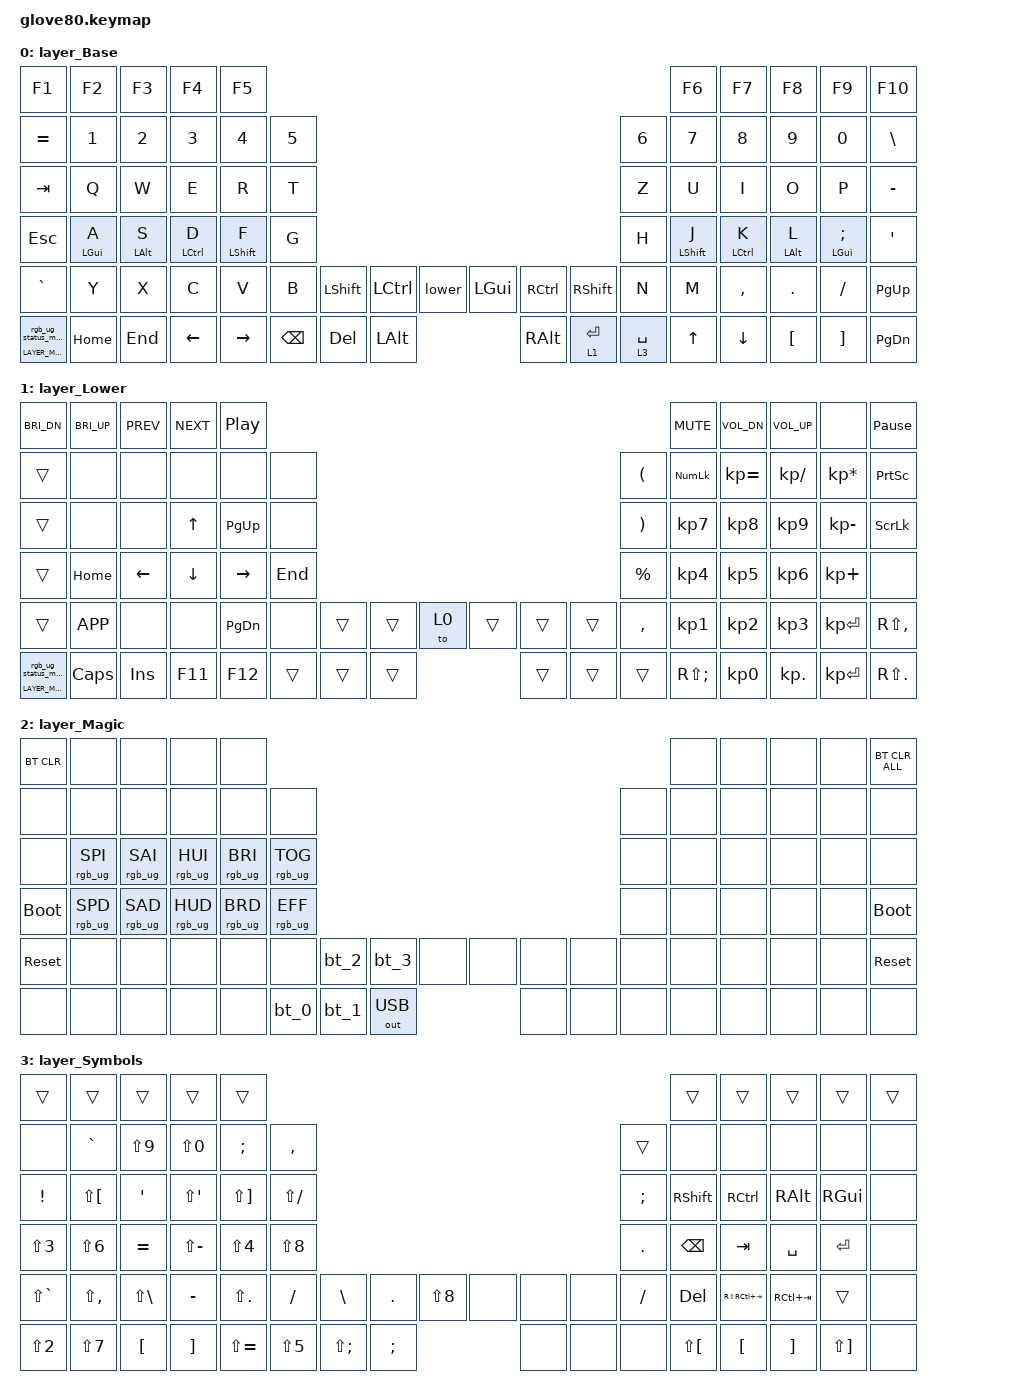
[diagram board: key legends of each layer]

/*
 * Copyright (c) 2020 The ZMK Contributors
 * Copyright (c) 2023 Innaworks Development Limited, trading as MoErgo
 *
 * SPDX-License-Identifier: MIT
 */


/* THIS FILE WAS GENERATED BY GLOVE80 LAYOUT EDITOR
 *
 * This file was generated automatically. You may or may not want to
 * edit it directly.
 */

#include <behaviors.dtsi>
/* Include all behavior includes needed */
#include <dt-bindings/zmk/outputs.h>
#include <dt-bindings/zmk/keys.h>
#include <dt-bindings/zmk/bt.h>
#include <dt-bindings/zmk/rgb.h>

/* On demand includes */


/* Automatically generated layer name #define */
#define LAYER_Base 0
#define LAYER_Lower 1
#define LAYER_Magic 2
#define LAYER_Symbols 3

/* To deal with the situation where there is no Lower layer, to keep &lower happy */
#ifndef LAYER_Lower
#define LAYER_Lower 0
#endif

/* Custom Device-tree */



/* Glove80 system behavior & macros */
/ {
    behaviors {
        // For the "layer" key, it'd nice to be able to use it as either a shift or a toggle.
        // Configure it as a tap dance, so the first tap (or hold) is a &mo and the second tap is a &to
        lower: lower {
            compatible = "zmk,behavior-tap-dance";
            label = "LAYER_TAP_DANCE";
            #binding-cells = <0>;
            tapping-term-ms = <200>;
            bindings = <&mo LAYER_Lower>, <&to LAYER_Lower>;
        };
    };
};

/ {
    macros {
        rgb_ug_status_macro: rgb_ug_status_macro {
            label = "RGB_UG_STATUS";
            compatible = "zmk,behavior-macro";
            #binding-cells = <0>;
            bindings
                = <&rgb_ug RGB_STATUS>;
        };
    };
};


/ {
#ifdef BT_DISC_CMD
    behaviors {
        bt_0: bt_0 {
            compatible = "zmk,behavior-tap-dance";
            label = "BT_0";
            #binding-cells = <0>;
            tapping-term-ms = <200>;
            bindings = <&bt_select_0>, <&bt BT_DISC 0>;
        };
        bt_1: bt_1 {
            compatible = "zmk,behavior-tap-dance";
            label = "BT_1";
            #binding-cells = <0>;
            tapping-term-ms = <200>;
            bindings = <&bt_select_1>, <&bt BT_DISC 1>;
        };
        bt_2: bt_2 {
            compatible = "zmk,behavior-tap-dance";
            label = "BT_2";
            #binding-cells = <0>;
            tapping-term-ms = <200>;
            bindings = <&bt_select_2>, <&bt BT_DISC 2>;
        };
        bt_3: bt_3 {
            compatible = "zmk,behavior-tap-dance";
            label = "BT_3";
            #binding-cells = <0>;
            tapping-term-ms = <200>;
            bindings = <&bt_select_3>, <&bt BT_DISC 3>;
        };
    };
    macros {
        bt_select_0: bt_select_0 {
            label = "BT_SELECT_0";
            compatible = "zmk,behavior-macro";
            #binding-cells = <0>;
            bindings
                = <&out OUT_BLE>,
                  <&bt BT_SEL 0>;
        };
        bt_select_1: bt_select_1 {
            label = "BT_SELECT_1";
            compatible = "zmk,behavior-macro";
            #binding-cells = <0>;
            bindings
                = <&out OUT_BLE>,
                  <&bt BT_SEL 1>;
        };
        bt_select_2: bt_select_2 {
            label = "BT_SELECT_2";
            compatible = "zmk,behavior-macro";
            #binding-cells = <0>;
            bindings
                = <&out OUT_BLE>,
                  <&bt BT_SEL 2>;
        };
        bt_select_3: bt_select_3 {
            label = "BT_SELECT_3";
            compatible = "zmk,behavior-macro";
            #binding-cells = <0>;
            bindings
                = <&out OUT_BLE>,
                  <&bt BT_SEL 3>;
        };
    };
#else
    macros {
        bt_0: bt_0 {
            label = "BT_0";
            compatible = "zmk,behavior-macro";
            #binding-cells = <0>;
            bindings
                = <&out OUT_BLE>,
                  <&bt BT_SEL 0>;
        };
        bt_1: bt_1 {
            label = "BT_1";
            compatible = "zmk,behavior-macro";
            #binding-cells = <0>;
            bindings
                = <&out OUT_BLE>,
                  <&bt BT_SEL 1>;
        };
        bt_2: bt_2 {
            label = "BT_2";
            compatible = "zmk,behavior-macro";
            #binding-cells = <0>;
            bindings
                = <&out OUT_BLE>,
                  <&bt BT_SEL 2>;
        };
        bt_3: bt_3 {
            label = "BT_3";
            compatible = "zmk,behavior-macro";
            #binding-cells = <0>;
            bindings
                = <&out OUT_BLE>,
                  <&bt BT_SEL 3>;
        };
    };
#endif
};

/ {
    behaviors {
        magic: magic {
            compatible = "zmk,behavior-hold-tap";
            label = "MAGIC_HOLD_TAP";
            #binding-cells = <2>;
            flavor = "tap-preferred";
            tapping-term-ms = <200>;
            bindings = <&mo>, <&rgb_ug_status_macro>;
        };
    };
};

/* #define for key positions */
#define POS_LH_T1 52
#define POS_LH_T2 53
#define POS_LH_T3 54
#define POS_LH_T4 69
#define POS_LH_T5 70
#define POS_LH_T6 71
#define POS_LH_C1R2 15
#define POS_LH_C1R3 27
#define POS_LH_C1R4 39
#define POS_LH_C1R5 51
#define POS_LH_C2R1 4
#define POS_LH_C2R2 14
#define POS_LH_C2R3 26
#define POS_LH_C2R4 38
#define POS_LH_C2R5 50
#define POS_LH_C2R6 68
#define POS_LH_C3R1 3
#define POS_LH_C3R2 13
#define POS_LH_C3R3 25
#define POS_LH_C3R4 37
#define POS_LH_C3R5 49
#define POS_LH_C3R6 67
#define POS_LH_C4R1 2
#define POS_LH_C4R2 12
#define POS_LH_C4R3 24
#define POS_LH_C4R4 36
#define POS_LH_C4R5 48
#define POS_LH_C4R6 66
#define POS_LH_C5R1 1
#define POS_LH_C5R2 11
#define POS_LH_C5R3 23
#define POS_LH_C5R4 35
#define POS_LH_C5R5 47
#define POS_LH_C5R6 65
#define POS_LH_C6R1 0
#define POS_LH_C6R2 10
#define POS_LH_C6R3 22
#define POS_LH_C6R4 34
#define POS_LH_C6R5 46
#define POS_LH_C6R6 64
#define POS_RH_T1 57
#define POS_RH_T2 56
#define POS_RH_T3 55
#define POS_RH_T4 74
#define POS_RH_T5 73
#define POS_RH_T6 72
#define POS_RH_C1R2 16
#define POS_RH_C1R3 28
#define POS_RH_C1R4 40
#define POS_RH_C1R5 58
#define POS_RH_C2R1 5
#define POS_RH_C2R2 17
#define POS_RH_C2R3 29
#define POS_RH_C2R4 41
#define POS_RH_C2R5 59
#define POS_RH_C2R6 75
#define POS_RH_C3R1 6
#define POS_RH_C3R2 18
#define POS_RH_C3R3 30
#define POS_RH_C3R4 42
#define POS_RH_C3R5 60
#define POS_RH_C3R6 76
#define POS_RH_C4R1 7
#define POS_RH_C4R2 19
#define POS_RH_C4R3 31
#define POS_RH_C4R4 43
#define POS_RH_C4R5 61
#define POS_RH_C4R6 77
#define POS_RH_C5R1 8
#define POS_RH_C5R2 20
#define POS_RH_C5R3 32
#define POS_RH_C5R4 44
#define POS_RH_C5R5 62
#define POS_RH_C5R6 78
#define POS_RH_C6R1 9
#define POS_RH_C6R2 21
#define POS_RH_C6R3 33
#define POS_RH_C6R4 45
#define POS_RH_C6R5 63
#define POS_RH_C6R6 79

/* Custom Defined Behaviors */
/ {

};

/* Automatically generated macro definitions */
/ {
    macros {

    };
};

/* Automatically generated behavior definitions */
/ {
    behaviors {

        // Home how mods
        hm: hm {
            compatible = "zmk,behavior-hold-tap";
            #binding-cells = <2>;
            tapping-term-ms = <350>;
            bindings = <&kp>, <&kp>;
            flavor = "tap-preferred";
            quick-tap-ms = <0>;
        };
    };
};

/* Automatically generated combos definitions */


/* Automatically generated keymap */
/ {
    keymap {
        compatible = "zmk,keymap";


        layer_Base {
            bindings = <
               &kp F1      &kp F2      &kp F3       &kp F4       &kp F5                                                                                         &kp F6       &kp F7      &kp F8         &kp F9    &kp F10
            &kp EQUAL      &kp N1      &kp N2       &kp N3       &kp N4  &kp N5                                                                    &kp N6       &kp N7       &kp N8      &kp N9         &kp N0   &kp BSLH
              &kp TAB       &kp Q       &kp W        &kp E        &kp R   &kp T                                                                     &kp Z        &kp U        &kp I       &kp O          &kp P  &kp MINUS
              &kp ESC  &hm LGUI A  &hm LALT S  &hm LCTRL D  &hm LSHFT F   &kp G                                                                     &kp H  &hm LSHFT J  &hm LCTRL K  &hm LALT L  &hm LGUI SEMI    &kp SQT
            &kp GRAVE       &kp Y       &kp X        &kp C        &kp V   &kp B  &kp LSHFT  &kp LCTRL    &lower  &kp LGUI  &kp RCTRL    &kp RSHFT   &kp N        &kp M    &kp COMMA     &kp DOT       &kp FSLH  &kp PG_UP
 &magic LAYER_Magic 0    &kp HOME     &kp END     &kp LEFT    &kp RIGHT           &kp BSPC    &kp DEL  &kp LALT  &kp RALT  &lt 1 RET  &lt 3 SPACE               &kp UP     &kp DOWN    &kp LBKT       &kp RBKT  &kp PG_DN
            >;
        };

        layer_Lower {
            bindings = <
         &kp C_BRI_DN  &kp C_BRI_UP      &kp C_PREV      &kp C_NEXT         &kp C_PP                                                                                    &kp C_MUTE  &kp C_VOL_DN  &kp C_VOL_UP            &none  &kp PAUSE_BREAK
               &trans         &none           &none           &none            &none    &none                                                   &kp LEFT_PARENTHESIS    &kp KP_NUM  &kp KP_EQUAL  &kp KP_SLASH  &kp KP_MULTIPLY  &kp PRINTSCREEN
               &trans         &none           &none    &kp UP_ARROW        &kp PG_UP    &none                                                  &kp RIGHT_PARENTHESIS     &kp KP_N7     &kp KP_N8     &kp KP_N9     &kp KP_MINUS   &kp SCROLLLOCK
               &trans      &kp HOME  &kp LEFT_ARROW  &kp DOWN_ARROW  &kp RIGHT_ARROW  &kp END                                                            &kp PERCENT     &kp KP_N4     &kp KP_N5     &kp KP_N6      &kp KP_PLUS            &none
               &trans     &kp K_APP           &none           &none        &kp PG_DN    &none  &trans  &trans   &to 0  &trans  &trans  &trans              &kp COMMA     &kp KP_N1     &kp KP_N2     &kp KP_N3     &kp KP_ENTER    &kp RS(COMMA)
 &magic LAYER_Magic 0      &kp CAPS         &kp INS         &kp F11          &kp F12           &trans  &trans  &trans  &trans  &trans  &trans                         &kp RS(SEMI)     &kp KP_N0    &kp KP_DOT     &kp KP_ENTER      &kp RS(DOT)
            >;
        };

        layer_Magic {
            bindings = <
  &bt BT_CLR            &none            &none            &none            &none                                                                                  &none   &none   &none   &none  &bt BT_CLR_ALL
       &none            &none            &none            &none            &none            &none                                                         &none   &none   &none   &none   &none           &none
       &none  &rgb_ug RGB_SPI  &rgb_ug RGB_SAI  &rgb_ug RGB_HUI  &rgb_ug RGB_BRI  &rgb_ug RGB_TOG                                                         &none   &none   &none   &none   &none           &none
 &bootloader  &rgb_ug RGB_SPD  &rgb_ug RGB_SAD  &rgb_ug RGB_HUD  &rgb_ug RGB_BRD  &rgb_ug RGB_EFF                                                         &none   &none   &none   &none   &none     &bootloader
  &sys_reset            &none            &none            &none            &none            &none   &bt_2   &bt_3         &none   &none   &none   &none   &none   &none   &none   &none   &none      &sys_reset
       &none            &none            &none            &none            &none                    &bt_0   &bt_1  &out OUT_USB   &none   &none   &none           &none   &none   &none   &none           &none
            >;
        };

        layer_Symbols {
            bindings = <
        &trans         &trans        &trans         &trans         &trans                                                                                              &trans           &trans       &trans        &trans  &trans
         &none      &kp GRAVE    &kp LS(N9)     &kp LS(N0)       &kp SEMI     &kp COMMA                                                                  &trans         &none            &none        &none         &none   &none
      &kp EXCL   &kp LS(LBKT)       &kp SQT    &kp LS(SQT)   &kp LS(RBKT)  &kp LS(FSLH)                                                                &kp SEMI     &kp RSHFT        &kp RCTRL     &kp RALT      &kp RGUI   &none
    &kp LS(N3)     &kp LS(N6)     &kp EQUAL  &kp LS(MINUS)     &kp LS(N4)    &kp LS(N8)                                                                 &kp DOT      &kp BSPC          &kp TAB    &kp SPACE       &kp RET   &none
 &kp LS(GRAVE)  &kp LS(COMMA)  &kp LS(BSLH)      &kp MINUS    &kp LS(DOT)      &kp FSLH    &kp BSLH       &kp DOT  &kp LS(N8)   &none   &none   &none  &kp FSLH       &kp DEL  &kp RS(RC(TAB))  &kp RC(TAB)        &trans   &none
    &kp LS(N2)     &kp LS(N7)      &kp LBKT       &kp RBKT  &kp LS(EQUAL)                &kp LS(N5)  &kp LS(SEMI)    &kp SEMI   &none   &none   &none            &kp LS(LBKT)         &kp LBKT     &kp RBKT  &kp LS(RBKT)   &none
            >;
        };

    };
};
